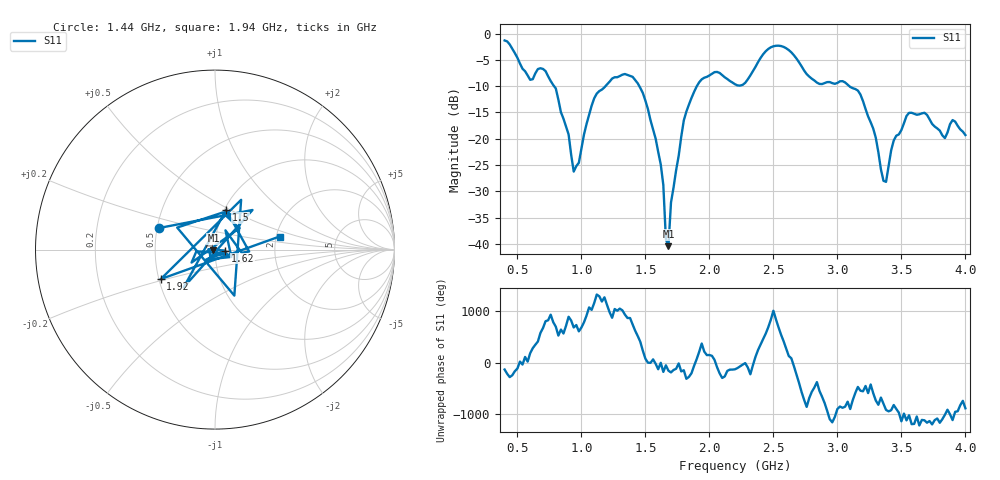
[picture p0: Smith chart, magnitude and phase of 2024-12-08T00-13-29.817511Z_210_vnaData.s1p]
!Created with skrf (http://scikit-rf.org).
# Hz S RI R 50.0
!freq ReS11 ImS11
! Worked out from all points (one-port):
!   181 points, 400 MHz to 4 GHz, reference 50 ohm
!   lowest |S11| = -40.4 dB at 1.68 GHz (marker M1), VSWR 1.02, Z = 49.1 - j0.323 ohm
!   |S11| at or under -10 dB: 786.4 MHz to 1.188 GHz (401.8 MHz wide, 40.7 % of centre); 1.452 GHz to 1.902 GHz (449.7 MHz wide, 26.8 % of centre); 3.093 GHz to end of sweep
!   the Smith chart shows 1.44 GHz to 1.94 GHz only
!   S11 on the Smith chart (normalised r, x): 1.44 GHz: 0.51, +0.14; 1.5 GHz: 1.02, +0.48; 1.62 GHz: 1.12, -0.01; 1.92 GHz: 0.51, -0.19; 1.94 GHz: 2.08, +0.35
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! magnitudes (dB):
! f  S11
! 400 MHz  -1.3
! 600 MHz  -8.8
! 720 MHz  -7.1
! 860 MHz  -16.2
! 940 MHz  -26.3
! 1.1 GHz  -12.3
! 1.3 GHz  -8.1
! 1.44 GHz  -9.5
! 1.5 GHz  -12.8
! 1.62 GHz  -24.9
! 1.64 GHz  -28.8
! 1.66 GHz  -39.1
! 1.68 GHz  -40.4
! 1.7 GHz  -32.1
! 1.76 GHz  -23.3
! 1.8 GHz  -16.5
! 1.92 GHz  -9.3
! 1.94 GHz  -8.7
! 2.2 GHz  -9.6
! 2.48 GHz  -2.6
! 2.66 GHz  -4.1
! 2.84 GHz  -9.3
! 3.1 GHz  -10.1
! 3.28 GHz  -18.1
! 3.36 GHz  -28.0
! 3.44 GHz  -20.4
! 3.56 GHz  -15.1
! 4 GHz  -19.3
